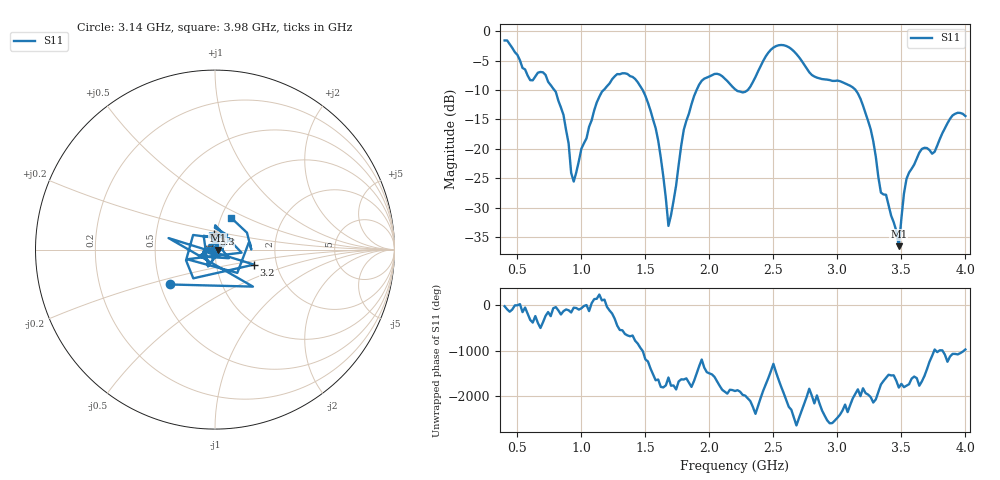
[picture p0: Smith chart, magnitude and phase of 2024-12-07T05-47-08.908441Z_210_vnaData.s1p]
!Created with skrf (http://scikit-rf.org).
# Hz S RI R 50.0
!freq ReS11 ImS11
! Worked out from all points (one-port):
!   181 points, 400 MHz to 4 GHz, reference 50 ohm
!   lowest |S11| = -36.6 dB at 3.48 GHz (marker M1), VSWR 1.03, Z = 51.5 - j0.147 ohm
!   |S11| at or under -10 dB: 788.1 MHz to 1.175 GHz (386.6 MHz wide, 39.4 % of centre); 1.478 GHz to 1.9 GHz (422.2 MHz wide, 25 % of centre); 3.142 GHz to end of sweep (the widest 3 of 4)
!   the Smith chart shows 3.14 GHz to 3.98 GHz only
!   S11 on the Smith chart (normalised r, x): 3.14 GHz: 0.56, -0.24; 3.2 GHz: 1.53, -0.27; 3.3 GHz: 0.97, +0.17; 3.98 GHz: 1.12, +0.41
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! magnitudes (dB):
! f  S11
! 400 MHz  -1.6
! 600 MHz  -8.3
! 720 MHz  -7.4
! 860 MHz  -14.2
! 940 MHz  -25.6
! 1.12 GHz  -12.1
! 1.3 GHz  -7.3
! 1.42 GHz  -8.1
! 1.54 GHz  -13.5
! 1.6 GHz  -18.6
! 1.68 GHz  -33.1
! 1.76 GHz  -22.7
! 1.8 GHz  -16.8
! 1.94 GHz  -8.4
! 2.2 GHz  -9.9
! 2.3 GHz  -10.0
! 2.5 GHz  -2.8
! 2.66 GHz  -3.4
! 3.1 GHz  -9.3
! 3.14 GHz  -9.9
! 3.2 GHz  -12.7
! 3.3 GHz  -21.3
! 3.34 GHz  -27.5
! 3.48 GHz  -36.6
! 3.52 GHz  -27.6
! 3.56 GHz  -24.0
! 3.98 GHz  -14.1
! 4 GHz  -14.4
